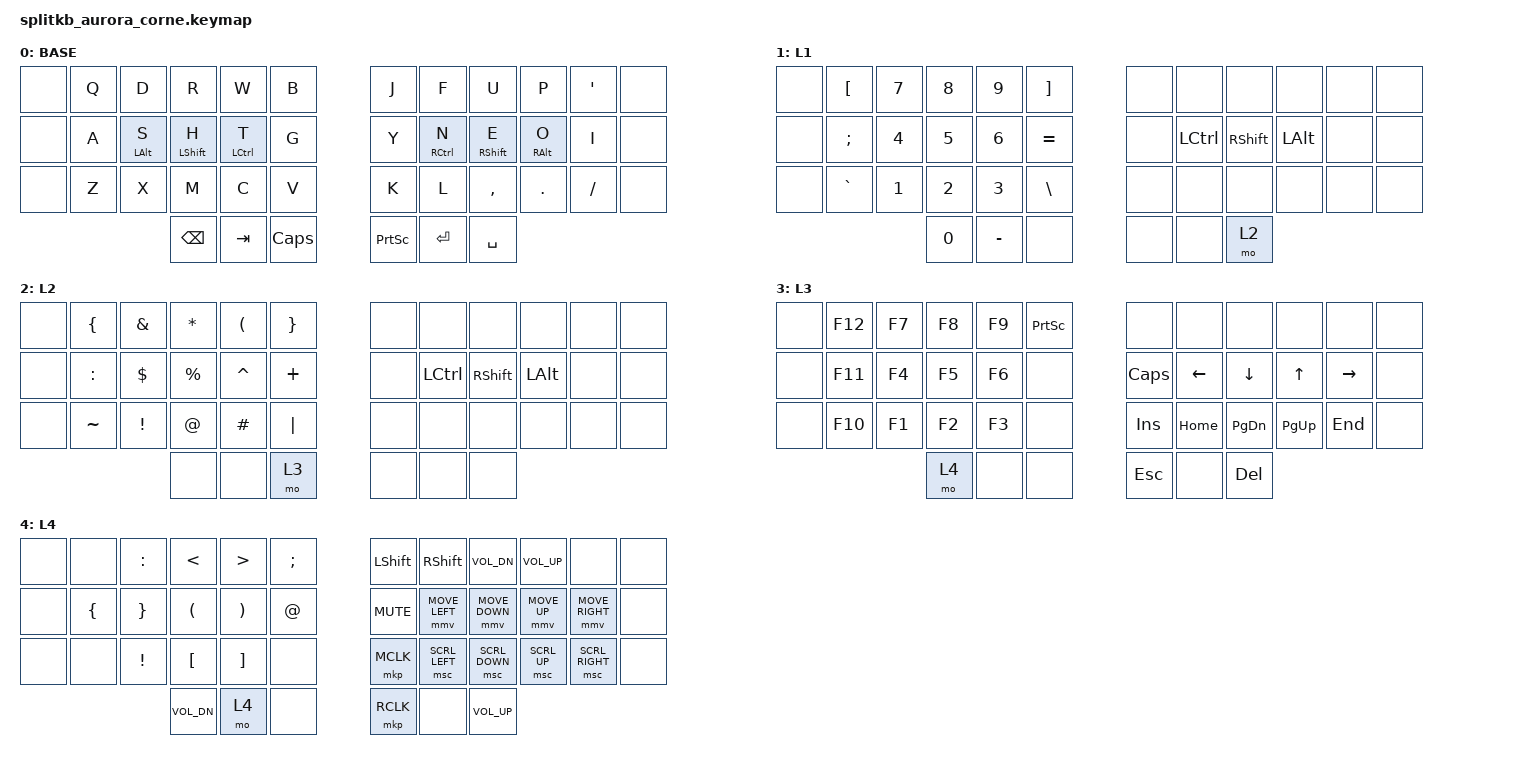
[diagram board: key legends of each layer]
#include <behaviors.dtsi>
#include <dt-bindings/zmk/keys.h>
#include <dt-bindings/zmk/pointing.h>

/ {
    keymap {
        compatible = "zmk,keymap";

        default_layer {
            display-name = "BASE";
            bindings = <
//  | COL 0 | COL 1 | COL 2 | COL 3 | COL 4 | COL 5 |   | COL 5 | COL 4 | COL 3 | COL 2 | COL 1 | COL 0 |
    &none   &kp Q   &kp D   &kp R   &kp W   &kp B       &kp J   &kp F   &kp U   &kp P   &kp SQT &none
    &none   &kp A   &mt LALT S &mt LSHFT H &mt LCTRL T &kp G   &kp Y   &mt RCTRL N &mt RSHFT E &mt RALT O &kp I   &none
    &none   &kp Z   &kp X   &kp M   &kp C   &kp V       &kp K   &kp L   &kp COMMA &kp DOT &kp FSLH &none
                    &kp BSPC &kp TAB &kp CLCK           &kp PSCRN &kp RET &kp SPACE
            >;
        };

        layer_1 {
            display-name = "L1";
            bindings = <
    &none   &kp LBKT  &kp N7  &kp N8  &kp N9  &kp RBKT    &none   &none   &none   &none   &none   &none
    &none   &kp SEMI  &kp N4  &kp N5  &kp N6  &kp EQUAL   &none   &kp LCTRL &kp RSHFT &kp LALT &none &none
    &none   &kp GRAVE &kp N1  &kp N2  &kp N3  &kp BSLH    &none   &none   &none   &none   &none   &none
                      &kp N0  &kp MINUS &none             &none   &none   &mo 2
            >;
        };

        layer_2 {
            display-name = "L2";
            bindings = <
    &none   &kp LBRC  &kp AMPS &kp STAR &kp LPAR &kp RBRC  &none   &none   &none   &none   &none   &none
    &none   &kp COLON &kp DLLR &kp PRCNT &kp CARET &kp PLUS &none   &kp LCTRL &kp RSHFT &kp LALT &none &none
    &none   &kp TILDE &kp EXCL &kp AT   &kp HASH &kp PIPE  &none   &none   &none   &none   &none   &none
                      &none   &none    &mo 3             &none   &none   &none
            >;
        };

        layer_3 {
            display-name = "L3";
            bindings = <
    &none   &kp F12   &kp F7  &kp F8  &kp F9  &kp PSCRN   &none   &none   &none   &none   &none   &none
    &none   &kp F11   &kp F4  &kp F5  &kp F6  &none       &kp CLCK &kp LEFT &kp DOWN &kp UP  &kp RIGHT &none
    &none   &kp F10   &kp F1  &kp F2  &kp F3  &none       &kp INS &kp HOME &kp PG_DN &kp PG_UP &kp END &none
                      &mo 4   &none   &none               &kp ESC &none   &kp DEL
            >;
        };

        layer_4 {
            display-name = "L4";
            bindings = <
    &none   &none     &kp COLON &kp LT &kp GT &kp SEMI    &kp LSHFT &kp RSHFT &kp C_VOL_DN &kp C_VOL_UP &none &none
    &none   &kp LBRC  &kp RBRC &kp LPAR &kp RPAR &kp AT    &kp C_MUTE &mmv MOVE_LEFT &mmv MOVE_DOWN &mmv MOVE_UP &mmv MOVE_RIGHT &none
    &none   &none     &kp EXCL &kp LBKT &kp RBKT &none     &mkp MCLK &msc SCRL_LEFT &msc SCRL_DOWN &msc SCRL_UP &msc SCRL_RIGHT &none
                      &kp C_VOL_DN &mo 4 &none           &mkp RCLK &none   &kp C_VOL_UP
            >;
        };
    };
};

